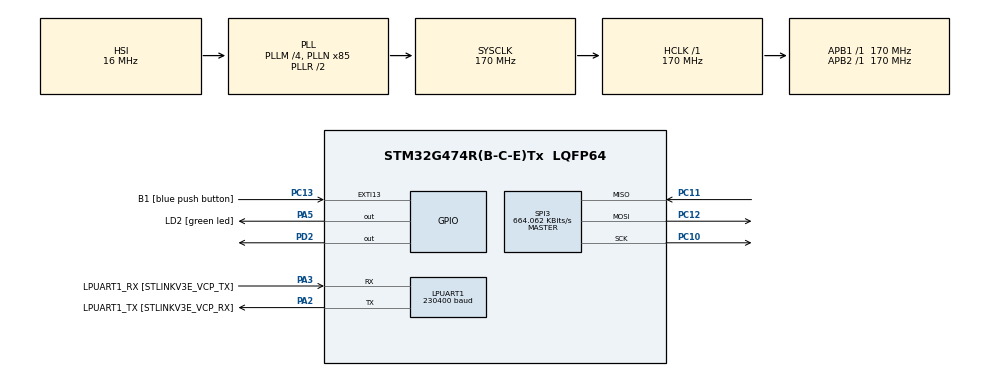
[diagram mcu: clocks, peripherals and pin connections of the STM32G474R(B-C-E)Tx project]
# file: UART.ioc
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Dma.LPUART1_RX.0.Direction=DMA_PERIPH_TO_MEMORY
Dma.LPUART1_RX.0.EventEnable=DISABLE
Dma.LPUART1_RX.0.Instance=DMA1_Channel1
Dma.LPUART1_RX.0.MemDataAlignment=DMA_MDATAALIGN_BYTE
Dma.LPUART1_RX.0.MemInc=DMA_MINC_ENABLE
Dma.LPUART1_RX.0.Mode=DMA_CIRCULAR
Dma.LPUART1_RX.0.PeriphDataAlignment=DMA_PDATAALIGN_BYTE
Dma.LPUART1_RX.0.PeriphInc=DMA_PINC_DISABLE
Dma.LPUART1_RX.0.Polarity=HAL_DMAMUX_REQ_GEN_RISING
Dma.LPUART1_RX.0.Priority=DMA_PRIORITY_LOW
Dma.LPUART1_RX.0.RequestNumber=1
Dma.LPUART1_RX.0.SignalID=NONE
Dma.LPUART1_RX.0.SyncEnable=DISABLE
Dma.LPUART1_RX.0.SyncPolarity=HAL_DMAMUX_SYNC_NO_EVENT
Dma.LPUART1_RX.0.SyncRequestNumber=1
Dma.LPUART1_RX.0.SyncSignalID=NONE
Dma.LPUART1_TX.1.Direction=DMA_MEMORY_TO_PERIPH
Dma.LPUART1_TX.1.EventEnable=DISABLE
Dma.LPUART1_TX.1.Instance=DMA1_Channel2
Dma.LPUART1_TX.1.MemDataAlignment=DMA_MDATAALIGN_BYTE
Dma.LPUART1_TX.1.MemInc=DMA_MINC_ENABLE
Dma.LPUART1_TX.1.Mode=DMA_NORMAL
Dma.LPUART1_TX.1.PeriphDataAlignment=DMA_PDATAALIGN_BYTE
Dma.LPUART1_TX.1.PeriphInc=DMA_PINC_DISABLE
Dma.LPUART1_TX.1.Polarity=HAL_DMAMUX_REQ_GEN_RISING
Dma.LPUART1_TX.1.Priority=DMA_PRIORITY_LOW
Dma.LPUART1_TX.1.RequestNumber=1
Dma.LPUART1_TX.1.SignalID=NONE
Dma.LPUART1_TX.1.SyncEnable=DISABLE
Dma.LPUART1_TX.1.SyncPolarity=HAL_DMAMUX_SYNC_NO_EVENT
Dma.LPUART1_TX.1.SyncRequestNumber=1
Dma.LPUART1_TX.1.SyncSignalID=NONE
Dma.Request0=LPUART1_RX
Dma.Request1=LPUART1_TX
LPUART1.BaudRate=230400
LPUART1.WordLength=UART_WORDLENGTH_8B
Mcu.Family=STM32G4
Mcu.Name=STM32G474R(B-C-E)Tx
Mcu.Package=LQFP64
NVIC.DMA1_Channel1_IRQn=true\:0\:0\:false\:false\:true\:false\:true\:true
NVIC.DMA1_Channel2_IRQn=true\:0\:0\:false\:false\:true\:false\:true\:true
NVIC.EXTI15_10_IRQn=true\:0\:0\:false\:false\:true\:true\:true\:true
NVIC.LPUART1_IRQn=true\:0\:0\:false\:false\:true\:true\:true\:true
NVIC.PriorityGroup=NVIC_PRIORITYGROUP_4
NVIC.SPI3_IRQn=true\:0\:0\:false\:false\:true\:true\:true\:true
NVIC.TIM2_IRQn=true\:0\:0\:false\:false\:true\:true\:true\:true
PA13.GPIO_Label=T_SWDIO
PA13.Mode=Serial_Wire
PA13.Signal=SYS_JTMS-SWDIO
PA14.GPIO_Label=T_SWCLK
PA14.Mode=Serial_Wire
PA14.Signal=SYS_JTCK-SWCLK
PA2.GPIO_Label=LPUART1_TX [STLINKV3E_VCP_RX]
PA2.Mode=Asynchronous
PA2.Signal=LPUART1_TX
PA3.GPIO_Label=LPUART1_RX [STLINKV3E_VCP_TX]
PA3.Mode=Asynchronous
PA3.Signal=LPUART1_RX
PA5.GPIO_Label=LD2 [green led]
PA5.Signal=GPIO_Output
PB3.GPIO_Label=T_SWO
PB3.Signal=SYS_JTDO-SWO
PC10.Mode=Full_Duplex_Master
PC10.Signal=SPI3_SCK
PC11.Mode=Full_Duplex_Master
PC11.Signal=SPI3_MISO
PC12.Mode=Full_Duplex_Master
PC12.Signal=SPI3_MOSI
PC13.GPIO_Label=B1 [blue push button]
PC13.Signal=GPXTI13
PC14-OSC32_IN.Mode=LSE-External-Oscillator
PC14-OSC32_IN.Signal=RCC_OSC32_IN
PC15-OSC32_OUT.Mode=LSE-External-Oscillator
PC15-OSC32_OUT.Signal=RCC_OSC32_OUT
PD2.PinState=GPIO_PIN_SET
PD2.Signal=GPIO_Output
PF0-OSC_IN.Mode=HSE-External-Oscillator
PF0-OSC_IN.Signal=RCC_OSC_IN
PF1-OSC_OUT.Mode=HSE-External-Oscillator
PF1-OSC_OUT.Signal=RCC_OSC_OUT
ProjectManager.HeapSize=0x200
ProjectManager.StackSize=0x400
ProjectManager.TargetToolchain=STM32CubeIDE
RCC.ADC12Freq_Value=170000000
RCC.ADC345Freq_Value=170000000
RCC.AHBFreq_Value=170000000
RCC.APB1Freq_Value=170000000
RCC.APB1TimFreq_Value=170000000
RCC.APB2Freq_Value=170000000
RCC.APB2TimFreq_Value=170000000
RCC.CortexFreq_Value=170000000
RCC.EXTERNAL_CLOCK_VALUE=12288000
RCC.HCLKFreq_Value=170000000
RCC.HSE_VALUE=24000000
RCC.HSI48_VALUE=48000000
RCC.HSI_VALUE=16000000
RCC.PLLM=RCC_PLLM_DIV4
RCC.PLLN=85
RCC.RTCClockSelection=RCC_RTCCLKSOURCE_LSE
RCC.SYSCLKFreq_VALUE=170000000
RCC.SYSCLKSource=RCC_SYSCLKSOURCE_PLLCLK
RCC.USBFreq_Value=170000000
RCC.VCOOutputFreq_Value=340000000
SPI3.BaudRatePrescaler=SPI_BAUDRATEPRESCALER_256
SPI3.CalculateBaudRate=664.062 KBits/s
SPI3.DataSize=SPI_DATASIZE_8BIT
SPI3.Direction=SPI_DIRECTION_2LINES
SPI3.Mode=SPI_MODE_MASTER
SPI3.VirtualType=VM_MASTER
TIM2.PeriodNoDither=999
TIM2.Prescaler=16999
VP_SYS_VS_DBSignals.Mode=DisableDeadBatterySignals
VP_TIM2_VS_ClockSourceINT.Mode=Internal
board=NUCLEO-G474RE

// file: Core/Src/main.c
/* USER CODE BEGIN Header */
/**
  ******************************************************************************
  * @file           : main.c
  * @brief          : Main program body
  ******************************************************************************
  * @attention
  *
  * Copyright (c) 2024 STMicroelectronics.
  * All rights reserved.
  *
  * This software is licensed under terms that can be found in the LICENSE file
  * in the root directory of this software component.
  * If no LICENSE file comes with this software, it is provided AS-IS.
  *
  ******************************************************************************
  */
/* USER CODE END Header */
#include "main.h"

/* USER CODE BEGIN Includes */
#include "stdio.h"
#include "string.h"
/* USER CODE END Includes */

UART_HandleTypeDef hlpuart1;
DMA_HandleTypeDef hdma_lpuart1_rx;
DMA_HandleTypeDef hdma_lpuart1_tx;

SPI_HandleTypeDef hspi3;

TIM_HandleTypeDef htim2;

/* USER CODE BEGIN PV */
uint8_t RxBuffer[20];
uint8_t TxBuffer[80];
uint8_t output[6];
uint8_t wordle[6] = "MICRO";
uint8_t point = 0;
uint8_t attempt = 0;
uint8_t readFlag = 0;
uint8_t s = 2;

// SPI //

uint8_t SPIRx[10];
uint8_t SPITx[10];
uint8_t Mode;
uint8_t Switch = 0;

uint8_t n = 0;

/* USER CODE END PV */

void SystemClock_Config(void);
static void MX_GPIO_Init(void);
static void MX_DMA_Init(void);
static void MX_LPUART1_UART_Init(void);
static void MX_SPI3_Init(void);
static void MX_TIM2_Init(void);
/* USER CODE BEGIN PFP */
void UARTPollingMethod();
void DummyTask();
void SPI_Worker();
void SPI_FirstSetup();
void ButtonRead();

//void UARTInterruptConfig();
//void UARTDMAConfig();
void Wordle();
/* USER CODE END PFP */

int main(void)
{

  /* MCU Configuration--------------------------------------------------------*/

  /* Reset of all peripherals, Initializes the Flash interface and the Systick. */
  HAL_Init();

  /* Configure the system clock */
  SystemClock_Config();

  /* Initialize all configured peripherals */
  MX_GPIO_Init();
  MX_DMA_Init();
  MX_LPUART1_UART_Init();
  MX_SPI3_Init();
  MX_TIM2_Init();
  /* USER CODE BEGIN 2 */

  // UART CODE //
  //UARTDMAConfig();
  //HAL_UART_Transmit(ส่งด้วย , สิ่งที่ส่ง ,
  sprintf((char*)TxBuffer,"Welcome to WORDLE, You have 5 chances to guess the word\r\n\n");
  HAL_UART_Transmit(&hlpuart1, TxBuffer, strlen((char*)TxBuffer), 5);
  sprintf((char*)TxBuffer,"PRESS [Button 1] to clear your word\r\n");
  HAL_UART_Transmit(&hlpuart1, TxBuffer, strlen((char*)TxBuffer), 5);
  sprintf((char*)TxBuffer,"PRESS [Button 2] to Restart \n\n");
  HAL_UART_Transmit(&hlpuart1, TxBuffer, strlen((char*)TxBuffer), 5);
  sprintf((char*)TxBuffer,"Turn CAPLOCK on and begin typing\r\n");
  HAL_UART_Transmit(&hlpuart1, TxBuffer, strlen((char*)TxBuffer), 5);
  // UART END //
  // SPI CODE //
  SPI_FirstSetup();
  HAL_TIM_Base_Start_IT(&htim2);
  // SPI END //

  /* USER CODE END 2 */

  /* Infinite loop */
  /* USER CODE BEGIN WHILE */
  while (1)
  {
	  UARTPollingMethod();
	  //UARTInterruptConfig();
    /* USER CODE END WHILE */

    /* USER CODE BEGIN 3 */
	  if(readFlag && attempt < 5 && point != 5 && RxBuffer[0] != '1' && RxBuffer[4] != '1'){
		  readFlag = 0;
		  Wordle();
	  }

	  //HAL_Delay(1);

  }
  /* USER CODE END 3 */
}

void SystemClock_Config(void)
{
  RCC_OscInitTypeDef RCC_OscInitStruct = {0};
  RCC_ClkInitTypeDef RCC_ClkInitStruct = {0};

  /** Configure the main internal regulator output voltage
  */
  HAL_PWREx_ControlVoltageScaling(PWR_REGULATOR_VOLTAGE_SCALE1_BOOST);

  /** Initializes the RCC Oscillators according to the specified parameters
  * in the RCC_OscInitTypeDef structure.
  */
  RCC_OscInitStruct.OscillatorType = RCC_OSCILLATORTYPE_HSI;
  RCC_OscInitStruct.HSIState = RCC_HSI_ON;
  RCC_OscInitStruct.HSICalibrationValue = RCC_HSICALIBRATION_DEFAULT;
  RCC_OscInitStruct.PLL.PLLState = RCC_PLL_ON;
  RCC_OscInitStruct.PLL.PLLSource = RCC_PLLSOURCE_HSI;
  RCC_OscInitStruct.PLL.PLLM = RCC_PLLM_DIV4;
  RCC_OscInitStruct.PLL.PLLN = 85;
  RCC_OscInitStruct.PLL.PLLP = RCC_PLLP_DIV2;
  RCC_OscInitStruct.PLL.PLLQ = RCC_PLLQ_DIV2;
  RCC_OscInitStruct.PLL.PLLR = RCC_PLLR_DIV2;
  if (HAL_RCC_OscConfig(&RCC_OscInitStruct) != HAL_OK)
  {
    Error_Handler();
  }

  /** Initializes the CPU, AHB and APB buses clocks
  */
  RCC_ClkInitStruct.ClockType = RCC_CLOCKTYPE_HCLK|RCC_CLOCKTYPE_SYSCLK
                              |RCC_CLOCKTYPE_PCLK1|RCC_CLOCKTYPE_PCLK2;
  RCC_ClkInitStruct.SYSCLKSource = RCC_SYSCLKSOURCE_PLLCLK;
  RCC_ClkInitStruct.AHBCLKDivider = RCC_SYSCLK_DIV1;
  RCC_ClkInitStruct.APB1CLKDivider = RCC_HCLK_DIV1;
  RCC_ClkInitStruct.APB2CLKDivider = RCC_HCLK_DIV1;

  if (HAL_RCC_ClockConfig(&RCC_ClkInitStruct, FLASH_LATENCY_4) != HAL_OK)
  {
    Error_Handler();
  }
}

static void MX_LPUART1_UART_Init(void)
{

  hlpuart1.Instance = LPUART1;
  hlpuart1.Init.BaudRate = 230400;
  hlpuart1.Init.WordLength = UART_WORDLENGTH_8B;
  hlpuart1.Init.StopBits = UART_STOPBITS_1;
  hlpuart1.Init.Parity = UART_PARITY_NONE;
  hlpuart1.Init.Mode = UART_MODE_TX_RX;
  hlpuart1.Init.HwFlowCtl = UART_HWCONTROL_NONE;
  hlpuart1.Init.OneBitSampling = UART_ONE_BIT_SAMPLE_DISABLE;
  hlpuart1.Init.ClockPrescaler = UART_PRESCALER_DIV1;
  hlpuart1.AdvancedInit.AdvFeatureInit = UART_ADVFEATURE_NO_INIT;
  if (HAL_UART_Init(&hlpuart1) != HAL_OK)
  {
    Error_Handler();
  }
  if (HAL_UARTEx_SetTxFifoThreshold(&hlpuart1, UART_TXFIFO_THRESHOLD_1_8) != HAL_OK)
  {
    Error_Handler();
  }
  if (HAL_UARTEx_SetRxFifoThreshold(&hlpuart1, UART_RXFIFO_THRESHOLD_1_8) != HAL_OK)
  {
    Error_Handler();
  }
  if (HAL_UARTEx_DisableFifoMode(&hlpuart1) != HAL_OK)
  {
    Error_Handler();
  }

}

static void MX_SPI3_Init(void)
{

  /* SPI3 parameter configuration*/
  hspi3.Instance = SPI3;
  hspi3.Init.Mode = SPI_MODE_MASTER;
  hspi3.Init.Direction = SPI_DIRECTION_2LINES;
  hspi3.Init.DataSize = SPI_DATASIZE_8BIT;
  hspi3.Init.CLKPolarity = SPI_POLARITY_LOW;
  hspi3.Init.CLKPhase = SPI_PHASE_1EDGE;
  hspi3.Init.NSS = SPI_NSS_SOFT;
  hspi3.Init.BaudRatePrescaler = SPI_BAUDRATEPRESCALER_256;
  hspi3.Init.FirstBit = SPI_FIRSTBIT_MSB;
  hspi3.Init.TIMode = SPI_TIMODE_DISABLE;
  hspi3.Init.CRCCalculation = SPI_CRCCALCULATION_DISABLE;
  hspi3.Init.CRCPolynomial = 7;
  hspi3.Init.CRCLength = SPI_CRC_LENGTH_DATASIZE;
  hspi3.Init.NSSPMode = SPI_NSS_PULSE_ENABLE;
  if (HAL_SPI_Init(&hspi3) != HAL_OK)
  {
    Error_Handler();
  }

}

static void MX_TIM2_Init(void)
{

  TIM_ClockConfigTypeDef sClockSourceConfig = {0};
  TIM_MasterConfigTypeDef sMasterConfig = {0};

  htim2.Instance = TIM2;
  htim2.Init.Prescaler = 16999;
  htim2.Init.CounterMode = TIM_COUNTERMODE_UP;
  htim2.Init.Period = 999;
  htim2.Init.ClockDivision = TIM_CLOCKDIVISION_DIV1;
  htim2.Init.AutoReloadPreload = TIM_AUTORELOAD_PRELOAD_DISABLE;
  if (HAL_TIM_Base_Init(&htim2) != HAL_OK)
  {
    Error_Handler();
  }
  sClockSourceConfig.ClockSource = TIM_CLOCKSOURCE_INTERNAL;
  if (HAL_TIM_ConfigClockSource(&htim2, &sClockSourceConfig) != HAL_OK)
  {
    Error_Handler();
  }
  sMasterConfig.MasterOutputTrigger = TIM_TRGO_RESET;
  sMasterConfig.MasterSlaveMode = TIM_MASTERSLAVEMODE_DISABLE;
  if (HAL_TIMEx_MasterConfigSynchronization(&htim2, &sMasterConfig) != HAL_OK)
  {
    Error_Handler();
  }

}

static void MX_DMA_Init(void)
{

  /* DMA controller clock enable */
  __HAL_RCC_DMAMUX1_CLK_ENABLE();
  __HAL_RCC_DMA1_CLK_ENABLE();

  /* DMA interrupt init */
  /* DMA1_Channel1_IRQn interrupt configuration */
  HAL_NVIC_SetPriority(DMA1_Channel1_IRQn, 0, 0);
  HAL_NVIC_EnableIRQ(DMA1_Channel1_IRQn);
  /* DMA1_Channel2_IRQn interrupt configuration */
  HAL_NVIC_SetPriority(DMA1_Channel2_IRQn, 0, 0);
  HAL_NVIC_EnableIRQ(DMA1_Channel2_IRQn);

}

static void MX_GPIO_Init(void)
{
  GPIO_InitTypeDef GPIO_InitStruct = {0};

  /* GPIO Ports Clock Enable */
  __HAL_RCC_GPIOC_CLK_ENABLE();
  __HAL_RCC_GPIOF_CLK_ENABLE();
  __HAL_RCC_GPIOA_CLK_ENABLE();
  __HAL_RCC_GPIOD_CLK_ENABLE();
  __HAL_RCC_GPIOB_CLK_ENABLE();

  /*Configure GPIO pin Output Level */
  HAL_GPIO_WritePin(LD2_GPIO_Port, LD2_Pin, GPIO_PIN_RESET);

  /*Configure GPIO pin Output Level */
  HAL_GPIO_WritePin(GPIOD, GPIO_PIN_2, GPIO_PIN_SET);

  /*Configure GPIO pin : B1_Pin */
  GPIO_InitStruct.Pin = B1_Pin;
  GPIO_InitStruct.Mode = GPIO_MODE_IT_RISING;
  GPIO_InitStruct.Pull = GPIO_NOPULL;
  HAL_GPIO_Init(B1_GPIO_Port, &GPIO_InitStruct);

  /*Configure GPIO pin : LD2_Pin */
  GPIO_InitStruct.Pin = LD2_Pin;
  GPIO_InitStruct.Mode = GPIO_MODE_OUTPUT_PP;
  GPIO_InitStruct.Pull = GPIO_NOPULL;
  GPIO_InitStruct.Speed = GPIO_SPEED_FREQ_LOW;
  HAL_GPIO_Init(LD2_GPIO_Port, &GPIO_InitStruct);

  /*Configure GPIO pin : PD2 */
  GPIO_InitStruct.Pin = GPIO_PIN_2;
  GPIO_InitStruct.Mode = GPIO_MODE_OUTPUT_PP;
  GPIO_InitStruct.Pull = GPIO_NOPULL;
  GPIO_InitStruct.Speed = GPIO_SPEED_FREQ_LOW;
  HAL_GPIO_Init(GPIOD, &GPIO_InitStruct);

  /* EXTI interrupt init*/
  HAL_NVIC_SetPriority(EXTI15_10_IRQn, 0, 0);
  HAL_NVIC_EnableIRQ(EXTI15_10_IRQn);

}

/* USER CODE BEGIN 4 */

/*/ SPI Function begin /*/
void SPI_FirstSetup()//at BEGIN 2
{
	HAL_GPIO_WritePin(GPIOD, GPIO_PIN_2, 0);
	SPITx[0] = 0b01000000;//write
	SPITx[1] = 0x01;//IODIRB
	SPITx[2] = 0b00000000;
	HAL_SPI_TransmitReceive_IT(&hspi3, SPITx, SPIRx, 3);
}

void SPI_Worker()
{
	if(HAL_GPIO_ReadPin(GPIOD,GPIO_PIN_2))
	{
		HAL_GPIO_WritePin(GPIOD, GPIO_PIN_2, 0); // CS Select

		SPITx[0] = 0b01000001;//read
		SPITx[1] = 0x12;
		SPITx[2] = 0;

		HAL_SPI_TransmitReceive_IT(&hspi3, SPITx, SPIRx, 3);

	}
}
void HAL_SPI_TxRxCpltCallback(SPI_HandleTypeDef *hspi)
{
	HAL_GPIO_WritePin(GPIOD, GPIO_PIN_2, 1); //CS dnSelect
}
void ButtonRead()
{
	if (SPIRx[2]==14)
		{
			Switch = 1;
		}
	else if (SPIRx[2]==13)
		{
			Switch = 2;
		}
	else if (SPIRx[2]==7)
		{
			Switch = 3;
		}
	else if (SPIRx[2]==11)
		{
			Switch = 4;
		}
}
/*/ SPI Function end /*/

void Wordle()
	{
		//readFlag = 0;
	for(uint8_t i = 0;i <5;i++)
	{
		output[5] = '\0';

		if(Switch == 3) //retry press "-"
		{
			Switch = 0;
//			sprintf((char*)TxBuffer,"Answer Cleared\r\n");
//			HAL_UART_Transmit(&hlpuart1, TxBuffer, strlen((char*)TxBuffer) , 5); // uart1, text , size , timeout
			return;
		}
		else if(RxBuffer[i] == wordle[i]){
			output[i] = RxBuffer[i];
			point++;

		}
		else {
			for(uint8_t j=0; j<5;j++)
			{
				if(RxBuffer[i] == wordle[j])
				{
					output[i] = '?';
					break;
				}
			}
		}
		if(output[i] != '?' && output[i] != RxBuffer[i]){
			output[i] = '_';
		}
	}
	if(point == 5){
		sprintf((char*)TxBuffer,"\n Congratulations!\n %s is correct\r\n", output);
		HAL_UART_Transmit(&hlpuart1, TxBuffer, strlen((char*)TxBuffer) , 5);
	}
	else{
		point = 0;
		attempt++;
		if(attempt >= 5){
				sprintf((char*)TxBuffer,"\nGame Over!\r\n\n Correct Answer is %s\n\r\n", (char*)wordle);
				HAL_UART_Transmit(&hlpuart1, TxBuffer, strlen((char*)TxBuffer) , 5);
		}
		else if(RxBuffer[1] != '1'){
			sprintf((char*)TxBuffer,"Wrong Answer \n Your Word : %s\r\n", (char*)output);
			HAL_UART_Transmit(&hlpuart1, TxBuffer, strlen((char*)TxBuffer) , 5);
			sprintf((char*)TxBuffer,"Remaining Chances: %d/5 \r\n", (int)(5-attempt));
			HAL_UART_Transmit(&hlpuart1, TxBuffer, strlen((char*)TxBuffer) , 5);
		}

	}

}

void UARTPollingMethod()
	{
	//read UART 10 char with in 10s
	HAL_StatusTypeDef HAL_status = HAL_UART_Receive(&hlpuart1, RxBuffer, 5, 15000);

	//if complete read 5 char
	if(HAL_status == HAL_OK)
	{
		readFlag = 1;
		RxBuffer[5] = '\0';
		if(Switch == 3){
			sprintf((char*)TxBuffer,"Completed\r\n");
		}
		else if(attempt >= 5 || point == 5){
			sprintf((char*)TxBuffer,"Game Ended, press [Button 2] to re-attempt\r\n");
		}
		else{
			sprintf((char*)TxBuffer,"Your answer : %s\r\n",(char*)RxBuffer);
		}
		HAL_UART_Transmit(&hlpuart1, TxBuffer, strlen((char*)TxBuffer), 5);
	}
	else if(HAL_status == HAL_TIMEOUT)
	{
		//(for string only) Add string stop symbol \0 to end string
		uint32_t lastCharPos = hlpuart1.RxXferSize - hlpuart1.RxXferCount;
		RxBuffer[lastCharPos] = '\0';

		//return received char
		sprintf((char*)TxBuffer,"Make sure to turn CAPLOCK on before typing\r\n");
		HAL_UART_Transmit(&hlpuart1, TxBuffer, strlen((char*)TxBuffer), 5);

	}
}

void HAL_TIM_PeriodElapsedCallback(TIM_HandleTypeDef *htim)
{
	if (htim == &htim2)
	{
		  SPI_Worker();
		  ButtonRead();
			if(Switch == 2){
				Switch = 3;
				point = 0;
				attempt = 0;
				RxBuffer[0] = '1';
				sprintf((char*)TxBuffer,"Restarting\r\n");
				HAL_UART_Transmit(&hlpuart1, TxBuffer, strlen((char*)TxBuffer), 5);
			}
			else if(Switch == 1) //retry press "-"
			{
				Switch = 3;
				sprintf((char*)TxBuffer,"Submit message to clear\r\n");
				HAL_UART_Transmit(&hlpuart1, TxBuffer, strlen((char*)TxBuffer) , 5);
			}
	}
}

/* USER CODE END 4 */

void Error_Handler(void)
{
  __disable_irq();
  while (1)
  {
  }
}
